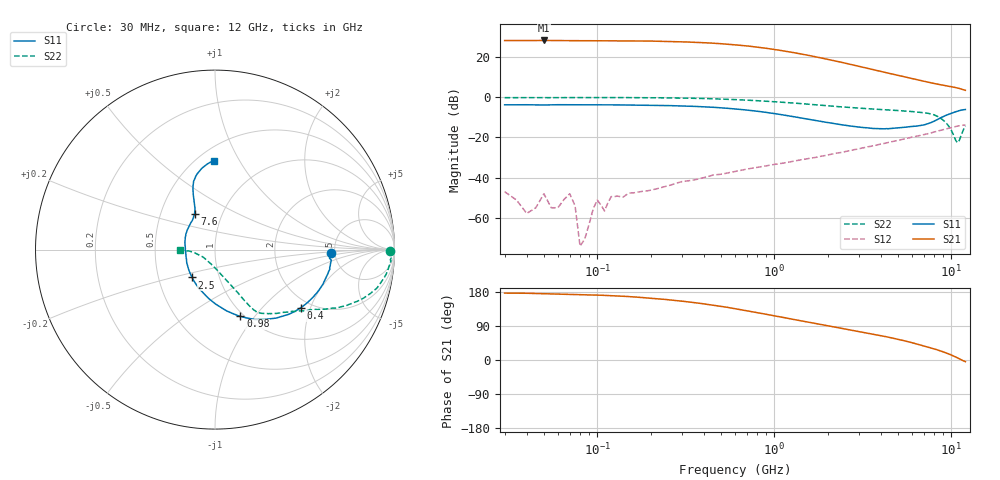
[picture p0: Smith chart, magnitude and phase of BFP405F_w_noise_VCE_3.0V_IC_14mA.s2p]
! Infineon Technologies  Discrete & RF Semiconductors
! BFP405F
! VCE =  3.0 V,  IC =  14 mA
! Common Emitter S-Parameters:  Nov 2015
# GHz  S  MA  R  50
!  f  S11  S21  S12  S22
! GHz  MAG  ANG  MAG  ANG  MAG  ANG  MAG  ANG
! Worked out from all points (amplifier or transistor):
!   239 points, 30 MHz to 12 GHz, reference 50 ohm
!   highest |S21| = 28.2 dB at 50 MHz (marker M1)
!   |S21| within 3 dB of that: start of sweep to 746.8 MHz
!   unconditionally stable (mu >= 1): 78.83 MHz to 86.38 MHz; 2.021 GHz to end of sweep
!   at 300 MHz: K = 0.18, MSG = 34.7 dB, |S12| = -41.9 dB
!   at 1.88 GHz: K = 0.97, MSG = 24.2 dB, |S12| = -29.2 dB
!   at 12 GHz: K = 1.38, MAG = 4.9 dB, |S12| = -13.7 dB
!   lowest NFmin = 1.91 dB at 450 MHz
!   S11 on the Smith chart (normalised r, x): 30 MHz: 4.63, -0.29; 400 MHz: 1.76, -1.72; 980 MHz: 0.96, -0.85; 2.5 GHz: 0.74, -0.24; 7.6 GHz: 0.74, +0.31; 12 GHz: 0.60, +0.79
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0.03  0.6457 -1.6  25.43 176.5  0.0045 141.1  0.9727 -0.3
0.04  0.649 -3.1  25.44 176.1  0.0013 101.8  0.9776 -0.8
0.05  0.6397 -4.3  25.61 174.9  0.004 -140.1  0.9725 -1.3
0.07  0.6495 -6.4  25.33 173.1  0.004 81.1  0.976 -1.9
0.075  0.6487 -6.6  25.27 172.8  0.002 78.2  0.9783 -2.0
0.08  0.6479 -6.9  25.2 172.4  0.0002 -13.7  0.9807 -2.1
0.085  0.6481 -7.4  25.24 172.2  0.0003 81.4  0.9816 -2.4
0.1  0.6469 -8.9  25.12 171.3  0.0028 67.2  0.9785 -3.4
0.15  0.6393 -13.5  25.01 167.5  0.0041 81.2  0.9758 -5.1
0.24  0.6219 -21.2  24.26 160.0  0.006 78.5  0.9629 -8.3
0.3  0.6061 -26.2  23.73 155.3  0.008 86.5  0.9498 -10.2
0.4  0.5773 -34.2  22.56 148.1  0.0101 73.8  0.9281 -13.3
0.6  0.5112 -48.3  19.96 135.4  0.0143 72.5  0.8719 -18.0
0.8  0.4488 -60.2  17.46 125.1  0.0181 73.1  0.8186 -21.5
0.98  0.3982 -69.1  15.52 117.4  0.0211 71.0  0.7759 -24.1
1.3  0.3248 -83.9  12.67 106.5  0.026 69.9  0.7126 -27.6
1.64  0.2727 -97.9  10.45 97.9  0.031 69.0  0.6593 -30.4
2.5  0.201 -129.6  7.031 82.0  0.0444 67.4  0.5661 -37.4
4.5  0.1663 175.9  3.864 59.3  0.0767 61.5  0.481 -47.9
7.6  0.2303 119.7  2.292 32.4  0.1288 49.7  0.3872 -57.7
10.8  0.4473 100.9  1.694 5.8  0.1913 31.2  0.0752 -125.2
12  0.4941 90.8  1.479 -4.2  0.2057 24.2  0.1955 -179.6
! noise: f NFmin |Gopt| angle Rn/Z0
0.45  1.91  0.12  3  0.31
0.9  1.94  0.11  6  0.31
1.5  1.98  0.1  10  0.2
1.9  2.03  0.08  15  0.24
2.4  2.17  0.06  22  0.38
3  2.25  0.04  27  0.41
3.5  2.31  0.02  23  0.49
4.5  2.5  0.07  -88  0.15
5.5  2.76  0.15  -87  0.08
